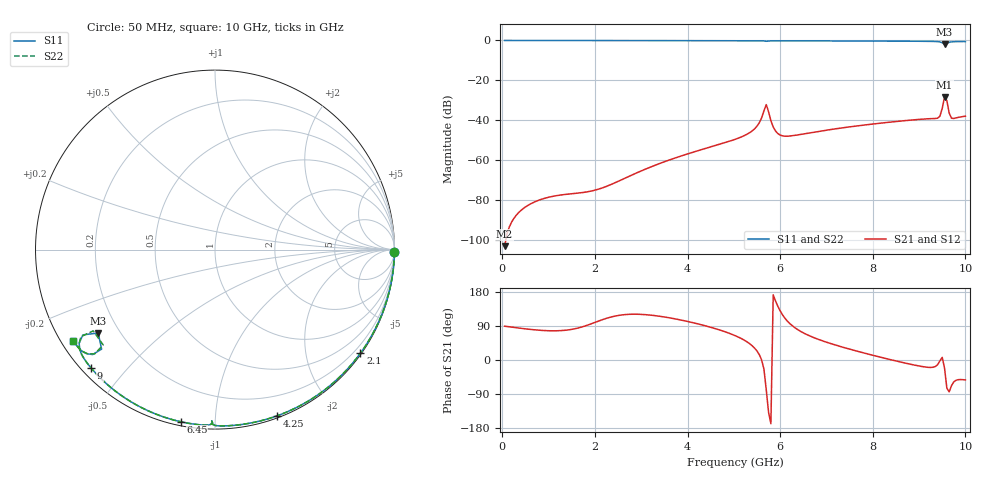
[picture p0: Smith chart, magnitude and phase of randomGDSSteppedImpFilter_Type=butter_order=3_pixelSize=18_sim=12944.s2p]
! freq	dB(S11)	phase(S11)	dB(S12)	phase(S12)
!  dB(S21)	phase(S21)	dB(S22)	phase(S22)
!S-par simulation data
#  GHz  S  DB  R 50
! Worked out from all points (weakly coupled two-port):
!   200 points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, 50 MHz to 10 GHz, reference 50 ohm
!   highest |S21| = -28.27 dB at 9.55 GHz (marker M1); lowest = -103.0 dB at 50 MHz (marker M2)
!   lowest |S11| = -1.9 dB at 9.55 GHz (marker M3), VSWR 8.99, Z = 6.13 - j15.8 ohm
!   |S11| at or under -10 dB: nowhere
!   |S22| runs from -1.8 to 0.0 dB; largest |S21 - S12| = 0
!   S11 on the Smith chart (normalised r, x): 50 MHz: open; 2.1 GHz: 0.03, -3.12; 4.25 GHz: 0.02, -1.44; 6.45 GHz: 0.02, -0.82; 9 GHz: 0.03, -0.40; 10 GHz: 0.03, -0.29
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0.05  -0.00 -0.9  -102.98 89.2  -102.98 89.2  -0.00 -0.9
0.75  -0.01 -12.9  -80.31 79.0  -80.31 79.0  -0.01 -12.9
1.75  -0.04 -29.7  -76.08 88.3  -76.08 88.3  -0.04 -29.7
2.1  -0.05 -35.5  -74.29 103.7  -74.29 103.7  -0.05 -35.5
3.4  -0.08 -56.4  -61.57 115.4  -61.57 115.4  -0.08 -56.4
4.25  -0.10 -69.6  -55.02 94.5  -55.02 94.5  -0.10 -69.6
5.05  -0.13 -81.5  -49.32 63.1  -49.32 63.1  -0.13 -81.5
5.5  -0.15 -88.3  -42.91 23.7  -42.91 23.7  -0.15 -88.3
5.6  -0.18 -90.0  -38.75 0.2  -38.75 0.2  -0.18 -90.0
5.7  -0.40 -91.1  -32.12 -78.9  -32.12 -78.9  -0.40 -91.1
5.85  -0.19 -92.5  -43.28 171.9  -43.28 171.9  -0.19 -92.5
5.95  -0.18 -94.1  -46.60 141.8  -46.60 141.8  -0.18 -94.1
6.45  -0.19 -101.2  -47.01 74.9  -47.01 74.9  -0.19 -101.2
6.7  -0.21 -104.7  -46.01 60.4  -46.01 60.4  -0.21 -104.7
8.35  -0.33 -127.2  -40.95 1.9  -40.95 1.9  -0.33 -127.2
9  -0.40 -136.3  -39.52 -15.9  -39.52 -15.9  -0.40 -136.3
9.45  -0.73 -145.4  -37.93 -2.1  -37.93 -2.1  -0.69 -145.2
9.55  -1.94 -144.5  -28.27 -21.8  -28.27 -21.8  -1.77 -146.3
9.6  -1.51 -138.7  -30.16 -74.6  -30.16 -74.6  -1.74 -139.6
9.65  -0.93 -139.4  -36.36 -84.0  -36.36 -84.0  -1.04 -139.1
9.7  -0.71 -141.0  -38.93 -67.8  -38.93 -67.8  -0.75 -140.7
10  -0.54 -147.1  -37.93 -52.6  -37.93 -52.6  -0.54 -147.1
